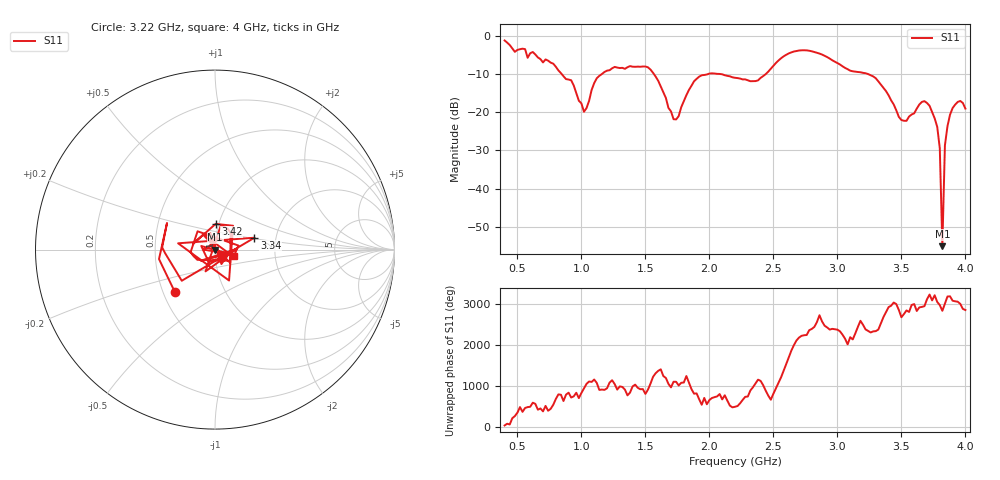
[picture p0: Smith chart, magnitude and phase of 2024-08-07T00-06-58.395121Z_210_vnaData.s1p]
!Created with skrf (http://scikit-rf.org).
# Hz S RI R 50.0
!freq ReS11 ImS11
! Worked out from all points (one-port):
!   181 points, 400 MHz to 4 GHz, reference 50 ohm
!   lowest |S11| = -55.0 dB at 3.82 GHz (marker M1), VSWR 1.00, Z = 50.1 - j0.107 ohm
!   |S11| at or under -10 dB: 1.567 GHz to 1.989 GHz (422.2 MHz wide, 23.7 % of centre); 2.088 GHz to 2.44 GHz (351.8 MHz wide, 15.5 % of centre); 3.24 GHz to end of sweep (the widest 3 of 4)
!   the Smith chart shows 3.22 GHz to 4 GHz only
!   S11 on the Smith chart (normalised r, x): 3.22 GHz: 0.58, -0.30; 3.34 GHz: 1.55, +0.22; 3.42 GHz: 0.97, +0.28; 4 GHz: 1.23, -0.09
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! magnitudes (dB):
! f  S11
! 400 MHz  -1.2
! 860 MHz  -10.6
! 920 MHz  -11.6
! 1.02 GHz  -19.9
! 1.12 GHz  -11.1
! 1.3 GHz  -8.4
! 1.52 GHz  -8.2
! 1.6 GHz  -11.8
! 1.72 GHz  -21.8
! 1.76 GHz  -21.0
! 1.92 GHz  -10.7
! 2.2 GHz  -11.0
! 2.38 GHz  -11.6
! 2.66 GHz  -4.1
! 3.1 GHz  -9.1
! 3.22 GHz  -9.8
! 3.34 GHz  -12.8
! 3.42 GHz  -16.9
! 3.5 GHz  -22.0
! 3.56 GHz  -21.1
! 3.68 GHz  -17.1
! 3.78 GHz  -23.8
! 3.8 GHz  -29.4
! 3.82 GHz  -55.0
! 3.84 GHz  -28.7
! 3.86 GHz  -23.6
! 3.94 GHz  -17.3
! 4 GHz  -19.0
